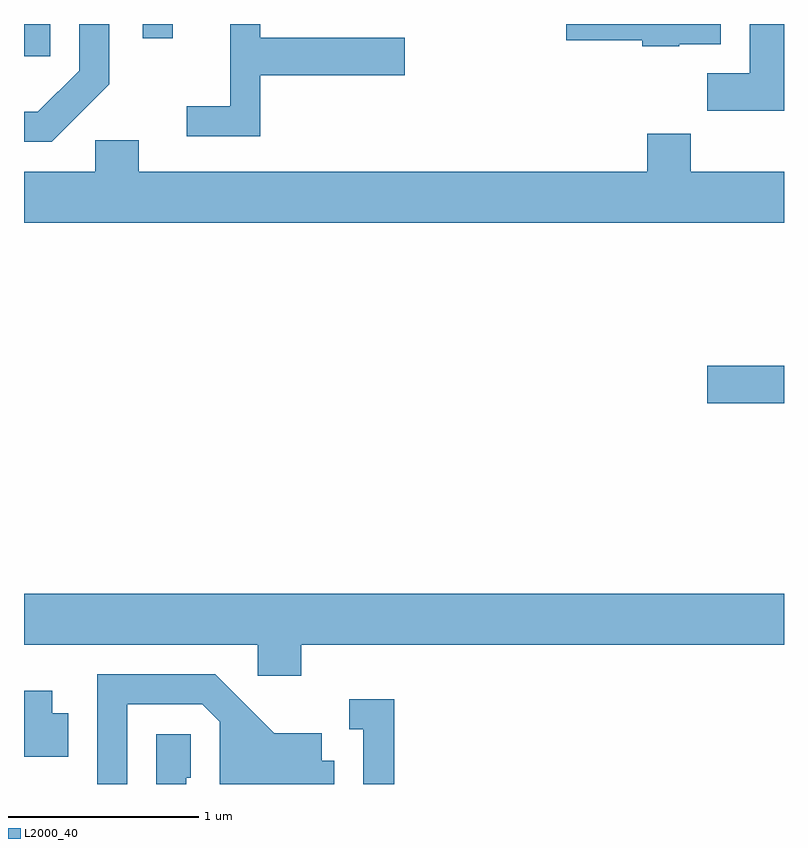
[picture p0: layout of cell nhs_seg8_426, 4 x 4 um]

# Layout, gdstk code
import gdstk
lib = gdstk.Library(unit=1e-6, precision=1e-09)
def R(c, l, rs):  # rectangles x0, y0, x1, y1
    for r in rs: c.add(gdstk.rectangle(r[:2], r[2:], *l))
def P(c, l, *ps):  # polygons
    for p in ps: c.add(gdstk.Polygon(p, *l))
L2000_40 = (2000, 40)

nhs_seg8_426 = lib.new_cell('nhs_seg8_426')
R(nhs_seg8_426, L2000_40, [(201.206,1844.346,201.611,1844.544), (197.611,1846.171,197.749,1846.342), (198.236,1846.268,198.394,1846.342)])
P(nhs_seg8_426, L2000_40, [(198.854,1846.071),(199.614,1846.071),(199.614,1846.269),(198.854,1846.269),(198.854,1846.342),(198.696,1846.342),(198.696,1845.909),(198.468,1845.909),(198.468,1845.751),(198.854,1845.751)],
  [(201.06,1846.236),(201.279,1846.236),(201.279,1846.342),(200.466,1846.342),(200.466,1846.256),(200.866,1846.256),(200.866,1846.226),(201.06,1846.226)],
  [(201.611,1846.342),(201.431,1846.342),(201.431,1846.084),(201.206,1846.084),(201.206,1845.886),(201.611,1845.886)],
  [(198.059,1846.024),(198.059,1846.342),(197.901,1846.342),(197.901,1846.097),(197.684,1845.879),(197.611,1845.879),(197.611,1845.721),(197.757,1845.721)],
  [(201.611,1845.564),(201.119,1845.564),(201.119,1845.764),(200.891,1845.764),(200.891,1845.564),(198.214,1845.564),(198.214,1845.729),(197.986,1845.729),(197.986,1845.564),(197.611,1845.564),(197.611,1845.296),(201.611,1845.296)],
  [(199.069,1843.076),(201.611,1843.076),(201.611,1843.344),(197.611,1843.344),(197.611,1843.076),(198.841,1843.076),(198.841,1842.911),(199.069,1842.911)],
  [(198.154,1842.761),(198.549,1842.761),(198.641,1842.669),(198.641,1842.342),(199.244,1842.342),(199.244,1842.464),(199.179,1842.464),(199.179,1842.609),(198.927,1842.609),(198.617,1842.919),(197.996,1842.919),(197.996,1842.342),(198.154,1842.342)],
  [(197.844,1842.714),(197.759,1842.714),(197.759,1842.834),(197.611,1842.834),(197.611,1842.486),(197.844,1842.486)],
  [(199.559,1842.789),(199.323,1842.789),(199.323,1842.631),(199.396,1842.631),(199.396,1842.342),(199.559,1842.342)],
  [(198.464,1842.376),(198.489,1842.376),(198.489,1842.604),(198.306,1842.604),(198.306,1842.342),(198.464,1842.342)])

lib.write_gds('nhs_seg8_426.gds')
